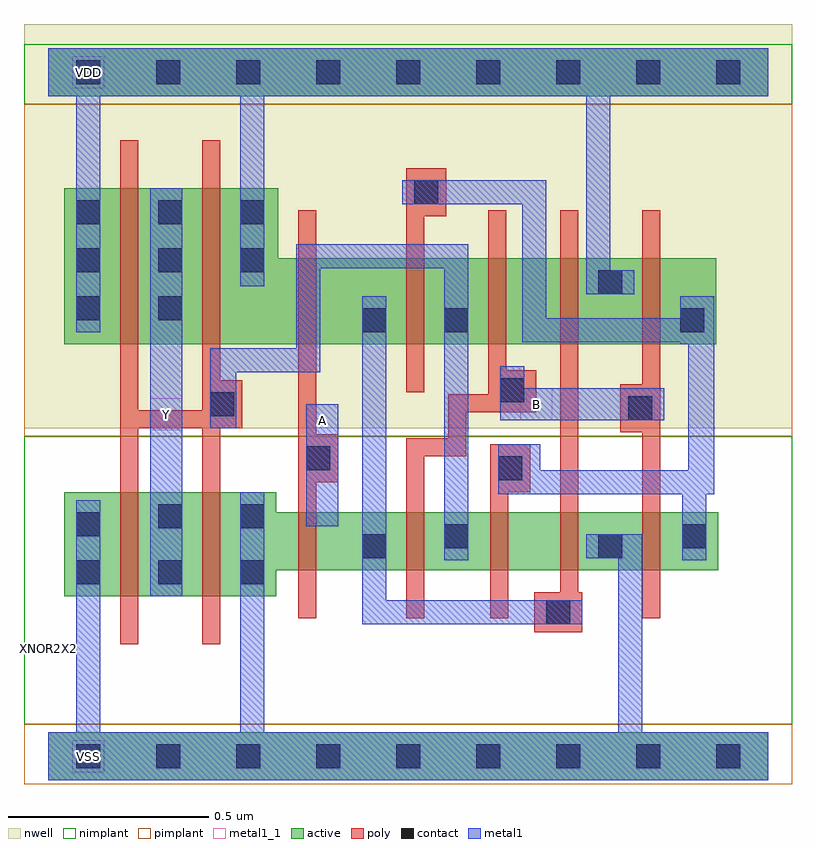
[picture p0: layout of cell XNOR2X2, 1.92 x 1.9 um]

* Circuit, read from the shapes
.subckt XNOR2X2 A B VDD VSS Y
M1 Y n1 VSS VSS nfet w=0.26u l=0.045u m=2
M2 n2 A VSS VSS nfet w=0.145u l=0.045u
M3 n1 B n2 VSS nfet w=0.145u l=0.045u
M4 n3 n4 n1 VSS nfet w=0.145u l=0.045u
M5 VSS n2 n3 VSS nfet w=0.145u l=0.045u
M6 n4 B VSS VSS nfet w=0.145u l=0.045u
M7 Y n1 VDD VDD pfet w=0.39u l=0.045u m=2
M8 n2 A VDD VDD pfet w=0.215u l=0.045u
M9 n1 n4 n2 VDD pfet w=0.215u l=0.045u
M10 n5 B n1 VDD pfet w=0.215u l=0.045u
M11 VDD n2 n5 VDD pfet w=0.215u l=0.045u
M12 n4 B VDD VDD pfet w=0.215u l=0.045u
.ends

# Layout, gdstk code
import gdstk
lib = gdstk.Library(unit=1e-6, precision=5e-10)
def R(c, l, rs):  # rectangles x0, y0, x1, y1
    for r in rs: c.add(gdstk.rectangle(r[:2], r[2:], *l))
def A(c, l, x, y, w, h, nx, ny, dx, dy):  # array of equal rectangles
    R(c, l, [(x+i*dx, y+j*dy, x+i*dx+w, y+j*dy+h) for i in range(nx) for j in range(ny)])
def P(c, l, *ps):  # polygons
    for p in ps: c.add(gdstk.Polygon(p, *l))
active = (1, 0)
nwell = (2, 0)
poly = (3, 0)
nimplant = (4, 0)
pimplant = (5, 0)
contact = (6, 0)
metal1 = (7, 0)
metal1_1 = (7, 1)

xnor2x2 = lib.new_cell('XNOR2X2')
R(xnor2x2, active, [(0,-0.06,1.8,0.06), (0,1.65,1.8,1.77)])
P(xnor2x2, active, [(0.04,1.42),(0.575,1.42),(0.575,1.245),(1.67,1.245),(1.67,1.03),(0.04,1.03)],
  [(0.04,0.66),(0.57,0.66),(0.57,0.61),(1.675,0.61),(1.675,0.465),(0.57,0.465),(0.57,0.4),(0.04,0.4)])
R(xnor2x2, nwell, [(-0.06,0.82,1.86,1.83)])
P(xnor2x2, poly, [(1.335,0.41),(1.325,0.41),(1.325,1.365),(1.28,1.365),(1.28,0.41),(1.215,0.41),(1.215,0.31),(1.335,0.31)],
  [(1.22,0.965),(1.145,0.965),(1.145,1.365),(1.1,1.365),(1.1,0.905),(1,0.905),(1,0.795),(0.895,0.795),(0.895,0.345),(0.94,0.345),(0.94,0.75),(1.045,0.75),(1.045,0.86),(1.22,0.86)],
  [(1.205,0.78),(1.105,0.78),(1.105,0.345),(1.15,0.345),(1.15,0.66),(1.205,0.66)],
  [(1.53,1.365),(1.485,1.365),(1.485,0.93),(1.43,0.93),(1.43,0.81),(1.485,0.81),(1.485,0.345),(1.53,0.345)],
  [(0.995,1.47),(0.895,1.47),(0.895,0.91),(0.94,0.91),(0.94,1.35),(0.995,1.35)],
  [(0.725,0.805),(0.67,0.805),(0.67,1.365),(0.625,1.365),(0.625,0.345),(0.67,0.345),(0.67,0.685),(0.725,0.685)],
  [(0.485,0.94),(0.43,0.94),(0.43,1.54),(0.385,1.54),(0.385,0.865),(0.225,0.865),(0.225,1.54),(0.18,1.54),(0.18,0.28),(0.225,0.28),(0.225,0.82),(0.385,0.82),(0.385,0.28),(0.43,0.28),(0.43,0.82),(0.485,0.82)])
R(xnor2x2, nimplant, [(-0.06,0.08,1.86,0.8), (-0.06,1.63,1.86,1.78)])
R(xnor2x2, pimplant, [(-0.06,-0.07,1.86,0.08), (-0.06,0.8,1.86,1.63)])
A(xnor2x2, contact, 0.07, -0.03, 0.06, 0.06, 9, 2, 0.2, 1.71)
A(xnor2x2, contact, 0.07, 0.43, 0.06, 0.06, 3, 2, 0.205, 0.78)
A(xnor2x2, contact, 0.07, 1.33, 0.06, 0.06, 3, 1, 0.205, 0)
R(xnor2x2, contact, [(1.245,0.33,1.305,0.39), (0.785,0.495,0.845,0.555), (1.375,0.495,1.435,0.555), (0.99,0.52,1.05,0.58), (1.585,0.52,1.645,0.58), (0.07,0.55,0.13,0.61), (0.275,0.57,0.335,0.63), (0.48,0.57,0.54,0.63), (1.125,0.69,1.185,0.75), (0.645,0.715,0.705,0.775), (1.45,0.84,1.51,0.9), (0.405,0.85,0.465,0.91), (1.13,0.885,1.19,0.945), (0.785,1.06,0.845,1.12), (0.99,1.06,1.05,1.12), (1.58,1.06,1.64,1.12), (0.07,1.09,0.13,1.15), (0.275,1.09,0.335,1.15), (1.375,1.155,1.435,1.215), (0.915,1.38,0.975,1.44)])
R(xnor2x2, metal1, [(0.255,0.4,0.335,1.42), (0.645,0.575,0.725,0.88)])
P(xnor2x2, metal1, [(1.8,1.77),(0,1.77),(0,1.65),(0.07,1.65),(0.07,1.06),(0.13,1.06),(0.13,1.65),(0.48,1.65),(0.48,1.175),(0.54,1.175),(0.54,1.65),(1.345,1.65),(1.345,1.155),(1.465,1.155),(1.465,1.215),(1.405,1.215),(1.405,1.65),(1.8,1.65)],
  [(1.665,1.15),(1.58,1.15),(1.58,1.095),(1.245,1.095),(1.245,1.44),(0.885,1.44),(0.885,1.38),(1.185,1.38),(1.185,1.035),(1.58,1.035),(1.58,1.03),(1.6,1.03),(1.6,0.715),(1.23,0.715),(1.23,0.78),(1.125,0.78),(1.125,0.655),(1.585,0.655),(1.585,0.49),(1.645,0.49),(1.645,0.655),(1.665,0.655)],
  [(1.8,0.06),(1.485,0.06),(1.485,0.555),(1.345,0.555),(1.345,0.495),(1.425,0.495),(1.425,0.06),(0.54,0.06),(0.54,0.66),(0.48,0.66),(0.48,0.06),(0.13,0.06),(0.13,0.64),(0.07,0.64),(0.07,0.06),(0,0.06),(0,-0.06),(1.8,-0.06)],
  [(1.54,0.92),(1.19,0.92),(1.19,0.975),(1.13,0.975),(1.13,0.84),(1.54,0.84)],
  [(1.335,0.39),(0.845,0.39),(0.845,1.15),(0.785,1.15),(0.785,0.33),(1.335,0.33)],
  [(1.05,1.28),(0.62,1.28),(0.62,1.02),(0.405,1.02),(0.405,0.82),(0.47,0.82),(0.47,0.96),(0.68,0.96),(0.68,1.22),(0.99,1.22),(0.99,0.49),(1.05,0.49)])
R(xnor2x2, metal1_1, [(0.06,-0.04,0.14,0.04), (0.645,0.8,0.725,0.88), (0.255,0.815,0.335,0.895), (1.18,0.84,1.26,0.92), (0.06,1.67,0.14,1.75)])
xnor2x2.add(gdstk.Label('VSS', (0.1,0), layer=7, texttype=1))
xnor2x2.add(gdstk.Label('Y', (0.295,0.855), layer=7, texttype=1))
xnor2x2.add(gdstk.Label('B', (1.22,0.88), layer=7, texttype=1))
xnor2x2.add(gdstk.Label('A', (0.685,0.84), layer=7, texttype=1))
xnor2x2.add(gdstk.Label('VDD', (0.1,1.71), layer=7, texttype=1))
xnor2x2.add(gdstk.Label('XNOR2X2', (0,0.27), layer=63, texttype=0))

lib.write_gds('XNOR2X2.gds')
